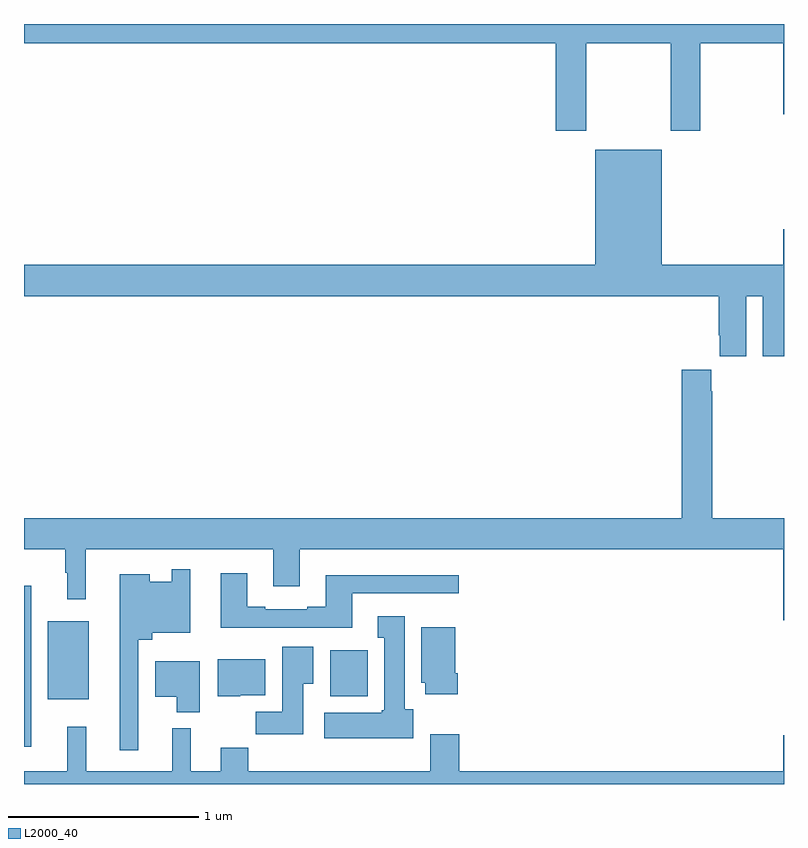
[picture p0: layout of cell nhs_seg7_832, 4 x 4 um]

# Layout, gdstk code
import gdstk
lib = gdstk.Library(unit=1e-6, precision=1e-09)
def R(c, l, rs):  # rectangles x0, y0, x1, y1
    for r in rs: c.add(gdstk.rectangle(r[:2], r[2:], *l))
def P(c, l, *ps):  # polygons
    for p in ps: c.add(gdstk.Polygon(p, *l))
L2000_40 = (2000, 40)

nhs_seg7_832 = lib.new_cell('nhs_seg7_832')
R(nhs_seg7_832, L2000_40, [(173,1046.196,173.037,1047.043), (173.126,1046.447,173.341,1046.857), (174.611,1046.462,174.808,1046.704)])
P(nhs_seg7_832, L2000_40, [(175.959,1049.9),(176.404,1049.9),(176.404,1049.439),(176.559,1049.439),(176.559,1049.9),(176.996,1049.9),(176.996,1049.526),(177,1049.526),(177,1050),(173,1050),(173,1049.9),(175.799,1049.9),(175.799,1049.439),(175.959,1049.439)],
  [(176.8,1048.568),(176.888,1048.568),(176.888,1048.251),(177,1048.251),(177,1048.921),(176.996,1048.921),(176.996,1048.732),(176.356,1048.732),(176.356,1049.338),(176.006,1049.338),(176.006,1048.732),(173,1048.732),(173,1048.568),(176.657,1048.568),(176.657,1048.363),(176.663,1048.363),(176.663,1048.251),(176.8,1048.251)],
  [(177,1047.4),(176.622,1047.4),(176.622,1048.067),(176.617,1048.067),(176.617,1048.18),(176.462,1048.18),(176.462,1047.4),(173,1047.4),(173,1047.236),(173.217,1047.236),(173.217,1047.113),(173.228,1047.113),(173.228,1046.973),(173.326,1046.973),(173.326,1047.236),(174.311,1047.236),(174.311,1047.042),(174.451,1047.042),(174.451,1047.236),(176.996,1047.236),(176.996,1046.862),(177,1046.862)],
  [(173.601,1046.759),(173.675,1046.759),(173.675,1046.795),(173.874,1046.795),(173.874,1047.13),(173.778,1047.13),(173.778,1047.064),(173.662,1047.064),(173.662,1047.103),(173.504,1047.103),(173.504,1046.178),(173.601,1046.178)],
  [(174.263,1046.823),(174.727,1046.823),(174.727,1047.003),(175.288,1047.003),(175.288,1047.1),(174.587,1047.1),(174.587,1046.932),(174.491,1046.932),(174.491,1046.919),(174.271,1046.919),(174.271,1046.932),(174.175,1046.932),(174.175,1047.109),(174.035,1047.109),(174.035,1046.822),(174.263,1046.822)],
  [(175.048,1046.394),(175.003,1046.394),(175.003,1046.884),(174.863,1046.884),(174.863,1046.771),(174.896,1046.771),(174.896,1046.388),(174.883,1046.388),(174.883,1046.374),(174.579,1046.374),(174.579,1046.24),(175.048,1046.24)],
  [(175.283,1046.584),(175.27,1046.584),(175.27,1046.824),(175.091,1046.824),(175.091,1046.532),(175.112,1046.532),(175.112,1046.472),(175.283,1046.472)],
  [(174.469,1046.528),(174.523,1046.528),(174.523,1046.722),(174.359,1046.722),(174.359,1046.38),(174.22,1046.38),(174.22,1046.262),(174.469,1046.262)],
  [(174.138,1046.468),(174.271,1046.468),(174.271,1046.656),(174.02,1046.656),(174.02,1046.462),(174.138,1046.462)],
  [(173.926,1046.647),(173.69,1046.647),(173.69,1046.459),(173.804,1046.459),(173.804,1046.378),(173.926,1046.378)],
  [(177,1046.257),(176.996,1046.257),(176.996,1046.068),(175.292,1046.068),(175.292,1046.263),(175.139,1046.263),(175.139,1046.068),(174.179,1046.068),(174.179,1046.192),(174.035,1046.192),(174.035,1046.068),(173.878,1046.068),(173.878,1046.293),(173.78,1046.293),(173.78,1046.068),(173.327,1046.068),(173.327,1046.302),(173.228,1046.302),(173.228,1046.068),(173,1046.068),(173,1046),(177,1046)])

lib.write_gds('nhs_seg7_832.gds')
